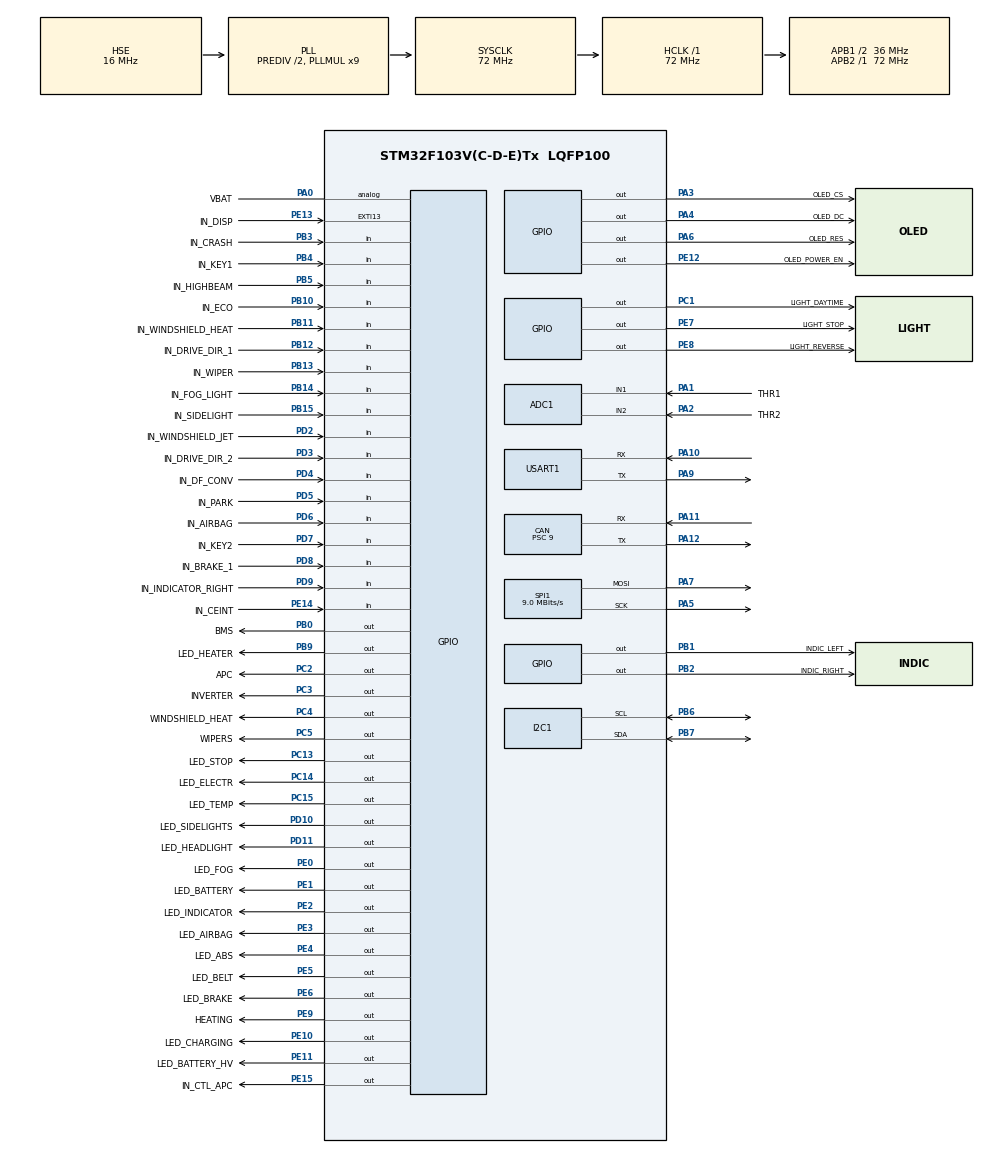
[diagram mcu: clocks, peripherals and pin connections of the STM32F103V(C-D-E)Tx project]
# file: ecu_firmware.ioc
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ADC1.Channel-0\#ChannelRegularConversion=ADC_CHANNEL_1
ADC1.NbrOfConversionFlag=1
ADC1.Rank-0\#ChannelRegularConversion=1
ADC1.SamplingTime-0\#ChannelRegularConversion=ADC_SAMPLETIME_1CYCLE_5
ADC1.master=1
CAN.BS1=CAN_BS1_4TQ
CAN.BS2=CAN_BS2_3TQ
CAN.CalculateBaudRate=500000
CAN.CalculateTimeBit=2000
CAN.CalculateTimeQuantum=250.0
CAN.Prescaler=9
FREERTOS.BinarySemaphores01=canSemaphore,Static,canSemaphoreControlBlock
FREERTOS.Tasks01=defaultTask,24,128,StartDefaultTask,Default,NULL,Dynamic,NULL,NULL;dashboardTask,8,2048,DashboardTask,As external,NULL,Dynamic,NULL,NULL;Throttle,48,128,throttle_task,As external,NULL,Dynamic,NULL,NULL;Inverter,8,128,inverter_task,As external,NULL,Dynamic,NULL,NULL;ChargingTask,8,128,chargingTask,As external,NULL,Dynamic,NULL,NULL
FREERTOS.configTOTAL_HEAP_SIZE=16384
IWDG.Prescaler=IWDG_PRESCALER_256
IWDG.Reload=500
Mcu.Family=STM32F1
Mcu.Name=STM32F103V(C-D-E)Tx
Mcu.Package=LQFP100
NVIC.EXTI15_10_IRQn=true\:5\:0\:false\:false\:true\:true\:true\:true\:true
NVIC.PriorityGroup=NVIC_PRIORITYGROUP_4
NVIC.USB_LP_CAN1_RX0_IRQn=true\:5\:0\:false\:false\:true\:true\:true\:true\:true
OSC_IN.Mode=HSE-External-Oscillator
OSC_IN.Signal=RCC_OSC_IN
OSC_OUT.Mode=HSE-External-Oscillator
OSC_OUT.Signal=RCC_OSC_OUT
PA0-WKUP.GPIO_Label=VBAT
PA0-WKUP.Signal=GPIO_Analog
PA1.GPIO_Label=THR1
PA1.Signal=SharedAnalog_PA1
PA10.Mode=Asynchronous
PA10.Signal=USART1_RX
PA11.Mode=CAN_Activate
PA11.Signal=CAN_RX
PA12.Mode=CAN_Activate
PA12.Signal=CAN_TX
PA13.Signal=SYS_JTMS-SWDIO
PA14.Signal=SYS_JTCK-SWCLK
PA2.GPIO_Label=THR2
PA2.Signal=SharedAnalog_PA2
PA3.GPIO_Label=OLED_CS
PA3.Signal=GPIO_Output
PA4.GPIO_Label=OLED_DC
PA4.Signal=GPIO_Output
PA5.Mode=TX_Only_Simplex_Unidirect_Master
PA5.Signal=SPI1_SCK
PA6.GPIO_Label=OLED_RES
PA6.Signal=GPIO_Output
PA7.Mode=TX_Only_Simplex_Unidirect_Master
PA7.Signal=SPI1_MOSI
PA9.Mode=Asynchronous
PA9.Signal=USART1_TX
PB0.GPIO_Label=BMS
PB0.Signal=GPIO_Output
PB1.GPIO_Label=INDIC_LEFT
PB1.Signal=GPIO_Output
PB10.GPIO_Label=IN_ECO
PB10.Signal=GPIO_Input
PB11.GPIO_Label=IN_WINDSHIELD_HEAT
PB11.Signal=GPIO_Input
PB12.GPIO_Label=IN_DRIVE_DIR_1
PB12.Signal=GPIO_Input
PB13.GPIO_Label=IN_WIPER
PB13.Signal=GPIO_Input
PB14.GPIO_Label=IN_FOG_LIGHT
PB14.Signal=GPIO_Input
PB15.GPIO_Label=IN_SIDELIGHT
PB15.Signal=GPIO_Input
PB2.GPIO_Label=INDIC_RIGHT
PB2.Signal=GPIO_Output
PB3.GPIO_Label=IN_CRASH
PB3.Signal=GPIO_Input
PB4.GPIO_Label=IN_KEY1
PB4.Signal=GPIO_Input
PB5.GPIO_Label=IN_HIGHBEAM
PB5.Signal=GPIO_Input
PB6.Mode=I2C
PB6.Signal=I2C1_SCL
PB7.Mode=I2C
PB7.Signal=I2C1_SDA
PB9.GPIO_Label=LED_HEATER
PB9.Signal=GPIO_Output
PC1.GPIO_Label=LIGHT_DAYTIME
PC1.Signal=GPIO_Output
PC13-TAMPER-RTC.GPIO_Label=LED_STOP
PC13-TAMPER-RTC.Signal=GPIO_Output
PC14-OSC32_IN.GPIO_Label=LED_ELECTR
PC14-OSC32_IN.Signal=GPIO_Output
PC15-OSC32_OUT.GPIO_Label=LED_TEMP
PC15-OSC32_OUT.Signal=GPIO_Output
PC2.GPIO_Label=APC
PC2.Signal=GPIO_Output
PC3.GPIO_Label=INVERTER
PC3.Signal=GPIO_Output
PC4.GPIO_Label=WINDSHIELD_HEAT
PC4.Signal=GPIO_Output
PC5.GPIO_Label=WIPERS
PC5.Signal=GPIO_Output
PD10.GPIO_Label=LED_SIDELIGHTS
PD10.Signal=GPIO_Output
PD11.GPIO_Label=LED_HEADLIGHT
PD11.Signal=GPIO_Output
PD2.GPIO_Label=IN_WINDSHIELD_JET
PD2.Signal=GPIO_Input
PD3.GPIO_Label=IN_DRIVE_DIR_2
PD3.Signal=GPIO_Input
PD4.GPIO_Label=IN_DF_CONV
PD4.Signal=GPIO_Input
PD5.GPIO_Label=IN_PARK
PD5.GPIO_PuPd=GPIO_PULLUP
PD5.Signal=GPIO_Input
PD6.GPIO_Label=IN_AIRBAG
PD6.Signal=GPIO_Input
PD7.GPIO_Label=IN_KEY2
PD7.Signal=GPIO_Input
PD8.GPIO_Label=IN_BRAKE_1
PD8.Signal=GPIO_Input
PD9.GPIO_Label=IN_INDICATOR_RIGHT
PD9.Signal=GPIO_Input
PE0.GPIO_Label=LED_FOG
PE0.Signal=GPIO_Output
PE1.GPIO_Label=LED_BATTERY
PE1.Signal=GPIO_Output
PE10.GPIO_Label=LED_CHARGING
PE10.Signal=GPIO_Output
PE11.GPIO_Label=LED_BATTERY_HV
PE11.Signal=GPIO_Output
PE12.GPIO_Label=OLED_POWER_EN
PE12.Signal=GPIO_Output
PE13.GPIO_Label=IN_DISP
PE13.GPIO_PuPd=GPIO_PULLUP
PE13.Signal=GPXTI13
PE14.GPIO_Label=IN_CEINT
PE14.Signal=GPIO_Input
PE15.GPIO_Label=IN_CTL_APC
PE15.Signal=GPIO_Output
PE2.GPIO_Label=LED_INDICATOR
PE2.Signal=GPIO_Output
PE3.GPIO_Label=LED_AIRBAG
PE3.Signal=GPIO_Output
PE4.GPIO_Label=LED_ABS
PE4.Signal=GPIO_Output
PE5.GPIO_Label=LED_BELT
PE5.Signal=GPIO_Output
PE6.GPIO_Label=LED_BRAKE
PE6.Signal=GPIO_Output
PE7.GPIO_Label=LIGHT_STOP
PE7.Signal=GPIO_Output
PE8.GPIO_Label=LIGHT_REVERSE
PE8.Signal=GPIO_Output
PE9.GPIO_Label=HEATING
PE9.Signal=GPIO_Output
ProjectManager.HeapSize=0x200
ProjectManager.StackSize=0x400
ProjectManager.TargetToolchain=Makefile
RCC.ADCPresc=RCC_ADCPCLK2_DIV6
RCC.AHBFreq_Value=72000000
RCC.APB1CLKDivider=RCC_HCLK_DIV2
RCC.APB1Freq_Value=36000000
RCC.APB1TimFreq_Value=72000000
RCC.APB2Freq_Value=72000000
RCC.APB2TimFreq_Value=72000000
RCC.HCLKFreq_Value=72000000
RCC.HSEDivPLL=RCC_HSE_PREDIV_DIV2
RCC.HSE_VALUE=16000000
RCC.PLLMUL=RCC_PLL_MUL9
RCC.PLLSourceVirtual=RCC_PLLSOURCE_HSE
RCC.SYSCLKFreq_VALUE=72000000
RCC.SYSCLKSource=RCC_SYSCLKSOURCE_PLLCLK
RCC.USBFreq_Value=72000000
SH.SharedAnalog_PA1.0=GPIO_Analog
SH.SharedAnalog_PA1.1=ADC1_IN1,IN1
SH.SharedAnalog_PA2.0=GPIO_Analog
SH.SharedAnalog_PA2.1=ADC1_IN2,IN2
SPI1.BaudRatePrescaler=SPI_BAUDRATEPRESCALER_8
SPI1.CalculateBaudRate=9.0 MBits/s
SPI1.Direction=SPI_DIRECTION_2LINES
SPI1.Mode=SPI_MODE_MASTER
SPI1.VirtualType=VM_MASTER
USART1.VirtualMode=VM_ASYNC
VP_FREERTOS_VS_CMSIS_V2.Mode=CMSIS_V2
VP_IWDG_VS_IWDG.Mode=IWDG_Activate
VP_SYS_VS_ND.Mode=No_Debug
board=custom

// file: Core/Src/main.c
/* USER CODE BEGIN Header */
/**
  ******************************************************************************
  * @file           : main.c
  * @brief          : Main program body
  ******************************************************************************
  * @attention
  *
  * Copyright (c) 2023 STMicroelectronics.
  * All rights reserved.
  *
  * This software is licensed under terms that can be found in the LICENSE file
  * in the root directory of this software component.
  * If no LICENSE file comes with this software, it is provided AS-IS.
  *
  ******************************************************************************
  */
/* USER CODE END Header */
#include "main.h"
#include "cmsis_os.h"

/* USER CODE BEGIN Includes */
#include <sevcon.h>
/* USER CODE END Includes */

typedef StaticSemaphore_t osStaticSemaphoreDef_t;

/* USER CODE BEGIN PD */

volatile inverter_t inverter = {0};
volatile charger_t charger = {0};

/* USER CODE END PD */

ADC_HandleTypeDef hadc1;

CAN_HandleTypeDef hcan;

I2C_HandleTypeDef hi2c1;

IWDG_HandleTypeDef hiwdg;

SPI_HandleTypeDef hspi1;

UART_HandleTypeDef huart1;

/* Definitions for defaultTask */
osThreadId_t defaultTaskHandle;
const osThreadAttr_t defaultTask_attributes = {
  .name = "defaultTask",
  .stack_size = 128 * 4,
  .priority = (osPriority_t) osPriorityNormal,
};
/* Definitions for dashboardTask */
osThreadId_t dashboardTaskHandle;
const osThreadAttr_t dashboardTask_attributes = {
  .name = "dashboardTask",
  .stack_size = 2048 * 4,
  .priority = (osPriority_t) osPriorityLow,
};
/* Definitions for Throttle */
osThreadId_t ThrottleHandle;
const osThreadAttr_t Throttle_attributes = {
  .name = "Throttle",
  .stack_size = 128 * 4,
  .priority = (osPriority_t) osPriorityRealtime,
};
/* Definitions for Inverter */
osThreadId_t InverterHandle;
const osThreadAttr_t Inverter_attributes = {
  .name = "Inverter",
  .stack_size = 128 * 4,
  .priority = (osPriority_t) osPriorityLow,
};
/* Definitions for ChargingTask */
osThreadId_t ChargingTaskHandle;
const osThreadAttr_t ChargingTask_attributes = {
  .name = "ChargingTask",
  .stack_size = 128 * 4,
  .priority = (osPriority_t) osPriorityLow,
};
/* Definitions for canSemaphore */
osSemaphoreId_t canSemaphoreHandle;
osStaticSemaphoreDef_t canSemaphoreControlBlock;
const osSemaphoreAttr_t canSemaphore_attributes = {
  .name = "canSemaphore",
  .cb_mem = &canSemaphoreControlBlock,
  .cb_size = sizeof(canSemaphoreControlBlock),
};
/* USER CODE BEGIN PV */

bool run = false;

/* USER CODE END PV */

void SystemClock_Config(void);
static void MX_GPIO_Init(void);
static void MX_CAN_Init(void);
static void MX_USART1_UART_Init(void);
static void MX_I2C1_Init(void);
static void MX_SPI1_Init(void);
static void MX_ADC1_Init(void);
static void MX_IWDG_Init(void);
void StartDefaultTask(void *argument);
extern void DashboardTask(void *argument);
extern void throttle_task(void *argument);
extern void inverter_task(void *argument);
extern void chargingTask(void *argument);

int main(void)
{

  /* MCU Configuration--------------------------------------------------------*/

  /* Reset of all peripherals, Initializes the Flash interface and the Systick. */
  HAL_Init();

  /* Configure the system clock */
  SystemClock_Config();

  /* Initialize all configured peripherals */
  MX_GPIO_Init();
  MX_CAN_Init();
  MX_USART1_UART_Init();
  MX_I2C1_Init();
  MX_SPI1_Init();
  MX_ADC1_Init();
  MX_IWDG_Init();
  /* USER CODE BEGIN 2 */
  CAN_FilterTypeDef sFilterConfig;

  sFilterConfig.FilterFIFOAssignment=CAN_FILTER_FIFO0; //set fifo assignment
  sFilterConfig.FilterIdHigh=0x245<<5; //the ID that the filter looks for (switch this for the other microcontroller)
  sFilterConfig.FilterIdLow=0;
  sFilterConfig.FilterMaskIdHigh=0;
  sFilterConfig.FilterMaskIdLow=0;
  sFilterConfig.FilterScale=CAN_FILTERSCALE_32BIT; //set filter scale
  sFilterConfig.FilterMode = CAN_FILTERMODE_IDMASK;
  sFilterConfig.FilterActivation=ENABLE;

  HAL_CAN_ConfigFilter(&hcan, &sFilterConfig); //configure CAN filter

//
    HAL_CAN_Start(&hcan);
    HAL_CAN_ActivateNotification(&hcan, CAN_IT_RX_FIFO0_MSG_PENDING);

    HAL_GPIO_WritePin(INVERTER_GPIO_Port, INVERTER_Pin, 0);
    HAL_Delay(1000);
  /* USER CODE END 2 */

  /* Init scheduler */
  osKernelInitialize();

  /* Create the semaphores(s) */
  /* creation of canSemaphore */
  canSemaphoreHandle = osSemaphoreNew(1, 1, &canSemaphore_attributes);

  /* Create the thread(s) */
  /* creation of defaultTask */
  defaultTaskHandle = osThreadNew(StartDefaultTask, NULL, &defaultTask_attributes);

  /* creation of dashboardTask */
  dashboardTaskHandle = osThreadNew(DashboardTask, NULL, &dashboardTask_attributes);

  /* creation of Throttle */
  ThrottleHandle = osThreadNew(throttle_task, NULL, &Throttle_attributes);

  /* creation of Inverter */
  InverterHandle = osThreadNew(inverter_task, NULL, &Inverter_attributes);

  /* creation of ChargingTask */
  ChargingTaskHandle = osThreadNew(chargingTask, NULL, &ChargingTask_attributes);

  /* Start scheduler */
  osKernelStart();
  /* We should never get here as control is now taken by the scheduler */
  /* Infinite loop */
  while (1)
  {

  }
}

void SystemClock_Config(void)
{
  RCC_OscInitTypeDef RCC_OscInitStruct = {0};
  RCC_ClkInitTypeDef RCC_ClkInitStruct = {0};
  RCC_PeriphCLKInitTypeDef PeriphClkInit = {0};

  /** Initializes the RCC Oscillators according to the specified parameters
  * in the RCC_OscInitTypeDef structure.
  */
  RCC_OscInitStruct.OscillatorType = RCC_OSCILLATORTYPE_LSI|RCC_OSCILLATORTYPE_HSE;
  RCC_OscInitStruct.HSEState = RCC_HSE_ON;
  RCC_OscInitStruct.HSEPredivValue = RCC_HSE_PREDIV_DIV2;
  RCC_OscInitStruct.HSIState = RCC_HSI_ON;
  RCC_OscInitStruct.LSIState = RCC_LSI_ON;
  RCC_OscInitStruct.PLL.PLLState = RCC_PLL_ON;
  RCC_OscInitStruct.PLL.PLLSource = RCC_PLLSOURCE_HSE;
  RCC_OscInitStruct.PLL.PLLMUL = RCC_PLL_MUL9;
  if (HAL_RCC_OscConfig(&RCC_OscInitStruct) != HAL_OK)
  {
    Error_Handler();
  }

  /** Initializes the CPU, AHB and APB buses clocks
  */
  RCC_ClkInitStruct.ClockType = RCC_CLOCKTYPE_HCLK|RCC_CLOCKTYPE_SYSCLK
                              |RCC_CLOCKTYPE_PCLK1|RCC_CLOCKTYPE_PCLK2;
  RCC_ClkInitStruct.SYSCLKSource = RCC_SYSCLKSOURCE_PLLCLK;
  RCC_ClkInitStruct.AHBCLKDivider = RCC_SYSCLK_DIV1;
  RCC_ClkInitStruct.APB1CLKDivider = RCC_HCLK_DIV2;
  RCC_ClkInitStruct.APB2CLKDivider = RCC_HCLK_DIV1;

  if (HAL_RCC_ClockConfig(&RCC_ClkInitStruct, FLASH_LATENCY_2) != HAL_OK)
  {
    Error_Handler();
  }
  PeriphClkInit.PeriphClockSelection = RCC_PERIPHCLK_ADC;
  PeriphClkInit.AdcClockSelection = RCC_ADCPCLK2_DIV6;
  if (HAL_RCCEx_PeriphCLKConfig(&PeriphClkInit) != HAL_OK)
  {
    Error_Handler();
  }
}

static void MX_ADC1_Init(void)
{

  ADC_ChannelConfTypeDef sConfig = {0};

  /** Common config
  */
  hadc1.Instance = ADC1;
  hadc1.Init.ScanConvMode = ADC_SCAN_DISABLE;
  hadc1.Init.ContinuousConvMode = DISABLE;
  hadc1.Init.DiscontinuousConvMode = DISABLE;
  hadc1.Init.ExternalTrigConv = ADC_SOFTWARE_START;
  hadc1.Init.DataAlign = ADC_DATAALIGN_RIGHT;
  hadc1.Init.NbrOfConversion = 1;
  if (HAL_ADC_Init(&hadc1) != HAL_OK)
  {
    Error_Handler();
  }

  /** Configure Regular Channel
  */
  sConfig.Channel = ADC_CHANNEL_1;
  sConfig.Rank = ADC_REGULAR_RANK_1;
  sConfig.SamplingTime = ADC_SAMPLETIME_1CYCLE_5;
  if (HAL_ADC_ConfigChannel(&hadc1, &sConfig) != HAL_OK)
  {
    Error_Handler();
  }

}

static void MX_CAN_Init(void)
{

  hcan.Instance = CAN1;
  hcan.Init.Prescaler = 9;
  hcan.Init.Mode = CAN_MODE_NORMAL;
  hcan.Init.SyncJumpWidth = CAN_SJW_1TQ;
  hcan.Init.TimeSeg1 = CAN_BS1_4TQ;
  hcan.Init.TimeSeg2 = CAN_BS2_3TQ;
  hcan.Init.TimeTriggeredMode = DISABLE;
  hcan.Init.AutoBusOff = DISABLE;
  hcan.Init.AutoWakeUp = DISABLE;
  hcan.Init.AutoRetransmission = DISABLE;
  hcan.Init.ReceiveFifoLocked = DISABLE;
  hcan.Init.TransmitFifoPriority = DISABLE;
  if (HAL_CAN_Init(&hcan) != HAL_OK)
  {
    Error_Handler();
  }

}

static void MX_I2C1_Init(void)
{

  hi2c1.Instance = I2C1;
  hi2c1.Init.ClockSpeed = 100000;
  hi2c1.Init.DutyCycle = I2C_DUTYCYCLE_2;
  hi2c1.Init.OwnAddress1 = 0;
  hi2c1.Init.AddressingMode = I2C_ADDRESSINGMODE_7BIT;
  hi2c1.Init.DualAddressMode = I2C_DUALADDRESS_DISABLE;
  hi2c1.Init.OwnAddress2 = 0;
  hi2c1.Init.GeneralCallMode = I2C_GENERALCALL_DISABLE;
  hi2c1.Init.NoStretchMode = I2C_NOSTRETCH_DISABLE;
  if (HAL_I2C_Init(&hi2c1) != HAL_OK)
  {
    Error_Handler();
  }

}

static void MX_IWDG_Init(void)
{

  hiwdg.Instance = IWDG;
  hiwdg.Init.Prescaler = IWDG_PRESCALER_256;
  hiwdg.Init.Reload = 500;
  if (HAL_IWDG_Init(&hiwdg) != HAL_OK)
  {
    Error_Handler();
  }

}

static void MX_SPI1_Init(void)
{

  /* SPI1 parameter configuration*/
  hspi1.Instance = SPI1;
  hspi1.Init.Mode = SPI_MODE_MASTER;
  hspi1.Init.Direction = SPI_DIRECTION_2LINES;
  hspi1.Init.DataSize = SPI_DATASIZE_8BIT;
  hspi1.Init.CLKPolarity = SPI_POLARITY_LOW;
  hspi1.Init.CLKPhase = SPI_PHASE_1EDGE;
  hspi1.Init.NSS = SPI_NSS_SOFT;
  hspi1.Init.BaudRatePrescaler = SPI_BAUDRATEPRESCALER_8;
  hspi1.Init.FirstBit = SPI_FIRSTBIT_MSB;
  hspi1.Init.TIMode = SPI_TIMODE_DISABLE;
  hspi1.Init.CRCCalculation = SPI_CRCCALCULATION_DISABLE;
  hspi1.Init.CRCPolynomial = 10;
  if (HAL_SPI_Init(&hspi1) != HAL_OK)
  {
    Error_Handler();
  }

}

static void MX_USART1_UART_Init(void)
{

  huart1.Instance = USART1;
  huart1.Init.BaudRate = 115200;
  huart1.Init.WordLength = UART_WORDLENGTH_8B;
  huart1.Init.StopBits = UART_STOPBITS_1;
  huart1.Init.Parity = UART_PARITY_NONE;
  huart1.Init.Mode = UART_MODE_TX_RX;
  huart1.Init.HwFlowCtl = UART_HWCONTROL_NONE;
  huart1.Init.OverSampling = UART_OVERSAMPLING_16;
  if (HAL_UART_Init(&huart1) != HAL_OK)
  {
    Error_Handler();
  }

}

static void MX_GPIO_Init(void)
{
  GPIO_InitTypeDef GPIO_InitStruct = {0};

  /* GPIO Ports Clock Enable */
  __HAL_RCC_GPIOE_CLK_ENABLE();
  __HAL_RCC_GPIOC_CLK_ENABLE();
  __HAL_RCC_GPIOA_CLK_ENABLE();
  __HAL_RCC_GPIOB_CLK_ENABLE();
  __HAL_RCC_GPIOD_CLK_ENABLE();

  /*Configure GPIO pin Output Level */
  HAL_GPIO_WritePin(GPIOE, LED_INDICATOR_Pin|LED_AIRBAG_Pin|LED_ABS_Pin|LED_BELT_Pin
                          |LED_BRAKE_Pin|LIGHT_STOP_Pin|LIGHT_REVERSE_Pin|HEATING_Pin
                          |LED_CHARGING_Pin|LED_BATTERY_HV_Pin|OLED_POWER_EN_Pin|IN_CTL_APC_Pin
                          |LED_FOG_Pin|LED_BATTERY_Pin, GPIO_PIN_RESET);

  /*Configure GPIO pin Output Level */
  HAL_GPIO_WritePin(GPIOC, LED_STOP_Pin|LED_ELECTR_Pin|LED_TEMP_Pin|LIGHT_DAYTIME_Pin
                          |APC_Pin|INVERTER_Pin|WINDSHIELD_HEAT_Pin|WIPERS_Pin, GPIO_PIN_RESET);

  /*Configure GPIO pin Output Level */
  HAL_GPIO_WritePin(GPIOA, OLED_CS_Pin|OLED_DC_Pin|OLED_RES_Pin, GPIO_PIN_RESET);

  /*Configure GPIO pin Output Level */
  HAL_GPIO_WritePin(GPIOB, BMS_Pin|INDIC_LEFT_Pin|INDIC_RIGHT_Pin|LED_HEATER_Pin, GPIO_PIN_RESET);

  /*Configure GPIO pin Output Level */
  HAL_GPIO_WritePin(GPIOD, LED_SIDELIGHTS_Pin|LED_HEADLIGHT_Pin, GPIO_PIN_RESET);

  /*Configure GPIO pins : LED_INDICATOR_Pin LED_AIRBAG_Pin LED_ABS_Pin LED_BELT_Pin
                           LED_BRAKE_Pin LIGHT_STOP_Pin LIGHT_REVERSE_Pin HEATING_Pin
                           LED_CHARGING_Pin LED_BATTERY_HV_Pin OLED_POWER_EN_Pin IN_CTL_APC_Pin
                           LED_FOG_Pin LED_BATTERY_Pin */
  GPIO_InitStruct.Pin = LED_INDICATOR_Pin|LED_AIRBAG_Pin|LED_ABS_Pin|LED_BELT_Pin
                          |LED_BRAKE_Pin|LIGHT_STOP_Pin|LIGHT_REVERSE_Pin|HEATING_Pin
                          |LED_CHARGING_Pin|LED_BATTERY_HV_Pin|OLED_POWER_EN_Pin|IN_CTL_APC_Pin
                          |LED_FOG_Pin|LED_BATTERY_Pin;
  GPIO_InitStruct.Mode = GPIO_MODE_OUTPUT_PP;
  GPIO_InitStruct.Pull = GPIO_NOPULL;
  GPIO_InitStruct.Speed = GPIO_SPEED_FREQ_LOW;
  HAL_GPIO_Init(GPIOE, &GPIO_InitStruct);

  /*Configure GPIO pins : LED_STOP_Pin LED_ELECTR_Pin LED_TEMP_Pin LIGHT_DAYTIME_Pin
                           APC_Pin INVERTER_Pin WINDSHIELD_HEAT_Pin WIPERS_Pin */
  GPIO_InitStruct.Pin = LED_STOP_Pin|LED_ELECTR_Pin|LED_TEMP_Pin|LIGHT_DAYTIME_Pin
                          |APC_Pin|INVERTER_Pin|WINDSHIELD_HEAT_Pin|WIPERS_Pin;
  GPIO_InitStruct.Mode = GPIO_MODE_OUTPUT_PP;
  GPIO_InitStruct.Pull = GPIO_NOPULL;
  GPIO_InitStruct.Speed = GPIO_SPEED_FREQ_LOW;
  HAL_GPIO_Init(GPIOC, &GPIO_InitStruct);

  /*Configure GPIO pin : VBAT_Pin */
  GPIO_InitStruct.Pin = VBAT_Pin;
  GPIO_InitStruct.Mode = GPIO_MODE_ANALOG;
  HAL_GPIO_Init(VBAT_GPIO_Port, &GPIO_InitStruct);

  /*Configure GPIO pins : OLED_CS_Pin OLED_DC_Pin OLED_RES_Pin */
  GPIO_InitStruct.Pin = OLED_CS_Pin|OLED_DC_Pin|OLED_RES_Pin;
  GPIO_InitStruct.Mode = GPIO_MODE_OUTPUT_PP;
  GPIO_InitStruct.Pull = GPIO_NOPULL;
  GPIO_InitStruct.Speed = GPIO_SPEED_FREQ_LOW;
  HAL_GPIO_Init(GPIOA, &GPIO_InitStruct);

  /*Configure GPIO pins : BMS_Pin INDIC_LEFT_Pin INDIC_RIGHT_Pin LED_HEATER_Pin */
  GPIO_InitStruct.Pin = BMS_Pin|INDIC_LEFT_Pin|INDIC_RIGHT_Pin|LED_HEATER_Pin;
  GPIO_InitStruct.Mode = GPIO_MODE_OUTPUT_PP;
  GPIO_InitStruct.Pull = GPIO_NOPULL;
  GPIO_InitStruct.Speed = GPIO_SPEED_FREQ_LOW;
  HAL_GPIO_Init(GPIOB, &GPIO_InitStruct);

  /*Configure GPIO pin : IN_DISP_Pin */
  GPIO_InitStruct.Pin = IN_DISP_Pin;
  GPIO_InitStruct.Mode = GPIO_MODE_IT_RISING;
  GPIO_InitStruct.Pull = GPIO_PULLUP;
  HAL_GPIO_Init(IN_DISP_GPIO_Port, &GPIO_InitStruct);

  /*Configure GPIO pin : IN_CEINT_Pin */
  GPIO_InitStruct.Pin = IN_CEINT_Pin;
  GPIO_InitStruct.Mode = GPIO_MODE_INPUT;
  GPIO_InitStruct.Pull = GPIO_NOPULL;
  HAL_GPIO_Init(IN_CEINT_GPIO_Port, &GPIO_InitStruct);

  /*Configure GPIO pins : IN_ECO_Pin IN_WINDSHIELD_HEAT_Pin IN_DRIVE_DIR_1_Pin IN_WIPER_Pin
                           IN_FOG_LIGHT_Pin IN_SIDELIGHT_Pin IN_CRASH_Pin IN_KEY1_Pin
                           IN_HIGHBEAM_Pin */
  GPIO_InitStruct.Pin = IN_ECO_Pin|IN_WINDSHIELD_HEAT_Pin|IN_DRIVE_DIR_1_Pin|IN_WIPER_Pin
                          |IN_FOG_LIGHT_Pin|IN_SIDELIGHT_Pin|IN_CRASH_Pin|IN_KEY1_Pin
                          |IN_HIGHBEAM_Pin;
  GPIO_InitStruct.Mode = GPIO_MODE_INPUT;
  GPIO_InitStruct.Pull = GPIO_NOPULL;
  HAL_GPIO_Init(GPIOB, &GPIO_InitStruct);

  /*Configure GPIO pins : IN_BRAKE_1_Pin IN_INDICATOR_RIGHT_Pin IN_WINDSHIELD_JET_Pin IN_DRIVE_DIR_2_Pin
                           IN_DF_CONV_Pin IN_AIRBAG_Pin IN_KEY2_Pin */
  GPIO_InitStruct.Pin = IN_BRAKE_1_Pin|IN_INDICATOR_RIGHT_Pin|IN_WINDSHIELD_JET_Pin|IN_DRIVE_DIR_2_Pin
                          |IN_DF_CONV_Pin|IN_AIRBAG_Pin|IN_KEY2_Pin;
  GPIO_InitStruct.Mode = GPIO_MODE_INPUT;
  GPIO_InitStruct.Pull = GPIO_NOPULL;
  HAL_GPIO_Init(GPIOD, &GPIO_InitStruct);

  /*Configure GPIO pins : LED_SIDELIGHTS_Pin LED_HEADLIGHT_Pin */
  GPIO_InitStruct.Pin = LED_SIDELIGHTS_Pin|LED_HEADLIGHT_Pin;
  GPIO_InitStruct.Mode = GPIO_MODE_OUTPUT_PP;
  GPIO_InitStruct.Pull = GPIO_NOPULL;
  GPIO_InitStruct.Speed = GPIO_SPEED_FREQ_LOW;
  HAL_GPIO_Init(GPIOD, &GPIO_InitStruct);

  /*Configure GPIO pin : IN_PARK_Pin */
  GPIO_InitStruct.Pin = IN_PARK_Pin;
  GPIO_InitStruct.Mode = GPIO_MODE_INPUT;
  GPIO_InitStruct.Pull = GPIO_PULLUP;
  HAL_GPIO_Init(IN_PARK_GPIO_Port, &GPIO_InitStruct);

  /* EXTI interrupt init*/
  HAL_NVIC_SetPriority(EXTI15_10_IRQn, 5, 0);
  HAL_NVIC_EnableIRQ(EXTI15_10_IRQn);

}

/* USER CODE BEGIN 4 */

int _write(int fd, const void *buffer, unsigned int count){
  HAL_UART_Transmit(&huart1, buffer, count, 1000);
  return count;
}

/* USER CODE END 4 */

void StartDefaultTask(void *argument)
{
  /* USER CODE BEGIN 5 */
    //HAL_CAN_AddTxMHAL_NVIC_EnableIRQ(CAN1_RX0_IRQn);essage()

  printf("Witaj Mio!\r\n");

    for(;;)
  {
    run = HAL_GPIO_ReadPin(IN_KEY1_GPIO_Port, IN_KEY1_Pin);
    HAL_GPIO_WritePin(APC_GPIO_Port, APC_Pin, run);
    HAL_GPIO_WritePin(HEATING_GPIO_Port, HEATING_Pin, run);
    HAL_GPIO_WritePin(INVERTER_GPIO_Port, INVERTER_Pin, run);
    HAL_GPIO_WritePin(BMS_GPIO_Port, BMS_Pin, run || charger.request_battery);
    HAL_GPIO_WritePin(LED_BRAKE_GPIO_Port,LED_BRAKE_Pin,HAL_GPIO_ReadPin(IN_PARK_GPIO_Port,IN_PARK_Pin));
    HAL_GPIO_WritePin(LED_HEADLIGHT_GPIO_Port,LED_HEADLIGHT_Pin, HAL_GPIO_ReadPin(IN_HIGHBEAM_GPIO_Port,IN_HIGHBEAM_Pin));
    HAL_GPIO_WritePin(LED_SIDELIGHTS_GPIO_Port,LED_SIDELIGHTS_Pin, HAL_GPIO_ReadPin(IN_SIDELIGHT_GPIO_Port,IN_SIDELIGHT_Pin));
    HAL_GPIO_WritePin(LED_FOG_GPIO_Port,LED_FOG_Pin, HAL_GPIO_ReadPin(IN_FOG_LIGHT_GPIO_Port,IN_FOG_LIGHT_Pin));

    HAL_GPIO_WritePin(LED_TEMP_GPIO_Port,LED_TEMP_Pin, inverter.voltage < 66.0);

    bool breaks_pressed = HAL_GPIO_ReadPin(IN_BRAKE_1_GPIO_Port, IN_BRAKE_1_Pin);
    HAL_GPIO_WritePin(LIGHT_STOP_GPIO_Port, LIGHT_STOP_Pin, breaks_pressed);

    uint8_t read;
//      HAL_I2C_Mem_Read(&hi2c1,0b10100001,0,1,&read,);

    osDelay(100);
      HAL_IWDG_Refresh(&hiwdg);
  }
  /* USER CODE END 5 */
}

void Error_Handler(void)
{
  /* USER CODE BEGIN Error_Handler_Debug */
  /* User can add his own implementation to report the HAL error return state */
  __disable_irq();
    HAL_GPIO_WritePin(GPIOB, BMS_Pin|INDIC_LEFT_Pin|INDIC_RIGHT_Pin|LED_HEATER_Pin, GPIO_PIN_SET);
  while (1)
  {
  }
  /* USER CODE END Error_Handler_Debug */
}
